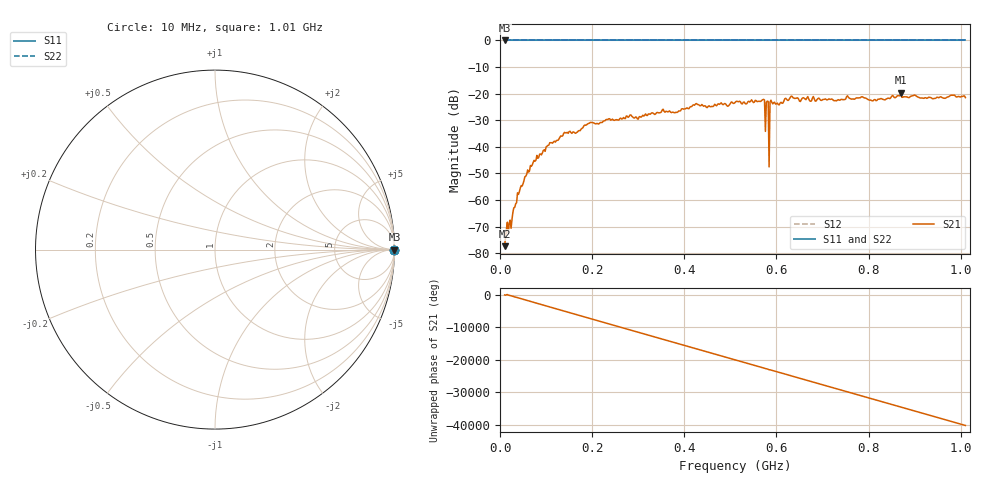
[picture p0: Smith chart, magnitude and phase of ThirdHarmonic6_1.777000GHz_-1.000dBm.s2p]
! 8/16/2025 9:28:45 PM
! C:\ANRITSUVNA\TEMP\TEMP.S2P
! CHANNEL.1
! TR.MEASUREMENT
! RAW.DATA
! RF.CORRECTION.OFF
! AVERAGING.OFF
! IF.BANDWIDTH: 5KHZ
! SWEEPTYPE:  FREQ.SWEEP(Linear)
! Reference Plane Port Info
! PORT:  PORT1  PORT2
! DISTANCE:  0  m  0  m
! TIME:  0  s  0  s
! PHASE.OFFSET:  0  deg.  0  deg.
! LOSS:  0  dB  0  dB
! REF.LOSS:  0  dB  0  dB
! REF.FREQ:  0  Hz  0  Hz
! Power Info
! POWER:  -20  dBm  -20  dBm
! EFF.POWER:  -20  dBm  -20  dBm
! SOURCE.ATTEN:  0  dB  0  dB
! TEST.ATTEN:  0  dB  0  dB
# GHZ S RI R 50.0
! FREQ.GHZ  S11RE  S11IM  S21RE  S21IM  S12RE  S12IM  S22RE  S22IM
!; PortSelection: Port_12
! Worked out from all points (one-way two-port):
!   501 points, 10 MHz to 1.01 GHz, reference 50 ohm
!   highest |S21| = -19.65 dB at 870 MHz (marker M1); lowest = -77.3 dB at 10 MHz (marker M2)
!   lowest |S11| = 0.0 dB at 10 MHz (marker M3)
!   |S11| at or under -10 dB: nowhere
!   |S22| runs from 0.0 to 0.0 dB; largest |S21 - S12| = 1.1
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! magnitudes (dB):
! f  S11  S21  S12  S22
! 10 MHz  0.0  -77.3  0.0  0.0
! 42 MHz  0.0  -56.9  0.0  0.0
! 70 MHz  0.0  -46.8  0.0  0.0
! 108 MHz  0.0  -38.4  0.0  0.0
! 142 MHz  0.0  -34.7  0.0  0.0
! 178 MHz  0.0  -33.0  0.0  0.0
! 234 MHz  0.0  -29.7  0.0  0.0
! 344 MHz  0.0  -27.2  0.0  0.0
! 510 MHz  0.0  -23.3  0.0  0.0
! 570 MHz  0.0  -22.3  0.0  0.0
! 572 MHz  0.0  -22.1  0.0  0.0
! 578 MHz  0.0  -23.2  0.0  0.0
! 580 MHz  0.0  -22.8  0.0  0.0
! 582 MHz  0.0  -22.9  0.0  0.0
! 588 MHz  0.0  -22.5  0.0  0.0
! 590 MHz  0.0  -23.3  0.0  0.0
! 608 MHz  0.0  -23.5  0.0  0.0
! 634 MHz  0.0  -21.1  0.0  0.0
! 678 MHz  0.0  -21.7  0.0  0.0
! 844 MHz  0.0  -21.7  0.0  0.0
! 870 MHz  0.0  -19.6  0.0  0.0
! 1.01 GHz  0.0  -21.5  0.0  0.0
